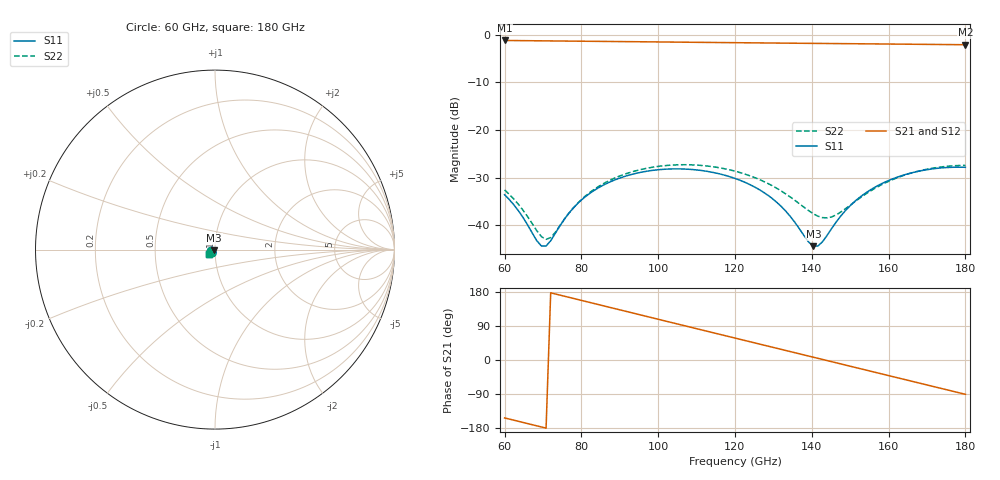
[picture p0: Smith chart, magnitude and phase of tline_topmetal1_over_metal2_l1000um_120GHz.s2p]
#  GHZ S DB R 50
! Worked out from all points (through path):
!   101 points, 60 GHz to 180 GHz, reference 50 ohm
!   highest |S21| = -1.19 dB at 60 GHz (marker M1); lowest = -2.1 dB at 180 GHz (marker M2)
!   group delay of S21, straight-line fit = 6.89 ps
!   lowest |S11| = -44.4 dB at 140.4 GHz (marker M3), VSWR 1.01, Z = 49.5 - j0.378 ohm
!   |S11| at or under -10 dB: start of sweep to end of sweep
!   |S22| runs from -43.0 to -27.3 dB; largest |S21 - S12| = 1e-13
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60  -33.60 -159.1  -1.19 -152.8  -1.19 -152.8  -32.60 -157.7
63.6  -36.97 -161.2  -1.22 -161.8  -1.22 -161.8  -35.62 -160.1
69.6  -44.39 -123.4  -1.27 -176.8  -1.27 -176.8  -42.42 -132.6
70.8  -44.37 -104.9  -1.28 -179.8  -1.28 -179.8  -42.99 -117.2
72  -43.27 -89.5  -1.29 177.2  -1.29 177.2  -42.60 -101.7
76.8  -37.42 -69.1  -1.32 165.3  -1.32 165.3  -37.43 -73.4
80.4  -34.44 -71.0  -1.35 156.3  -1.35 156.3  -34.32 -72.8
88.8  -30.46 -86.7  -1.42 135.4  -1.42 135.4  -30.06 -86.0
94.8  -29.01 -100.5  -1.46 120.4  -1.46 120.4  -28.44 -98.8
100.8  -28.30 -115.0  -1.51 105.5  -1.51 105.5  -27.57 -112.3
110.4  -28.43 -138.0  -1.58 81.7  -1.58 81.7  -27.40 -133.7
120  -30.18 -159.8  -1.66 57.9  -1.66 57.9  -28.65 -153.4
126  -32.38 -171.6  -1.70 43.0  -1.70 43.0  -30.29 -163.5
130.8  -35.14 -178.0  -1.74 31.1  -1.74 31.1  -32.21 -168.7
140.4  -44.41 -140.6  -1.80 7.4  -1.80 7.4  -37.61 -155.8
142.8  -43.48 -110.1  -1.82 1.4  -1.82 1.4  -38.42 -143.0
145.2  -40.66 -93.4  -1.84 -4.5  -1.84 -4.5  -38.26 -128.7
148.8  -36.91 -87.0  -1.86 -13.4  -1.86 -13.4  -36.53 -113.1
152.4  -34.20 -88.9  -1.89 -22.3  -1.89 -22.3  -34.36 -107.0
160.8  -30.35 -102.7  -1.95 -43.1  -1.95 -43.1  -30.51 -111.1
170.4  -28.29 -122.9  -2.02 -66.8  -2.02 -66.8  -28.18 -126.3
180  -27.84 -144.0  -2.09 -90.5  -2.09 -90.5  -27.43 -144.3
